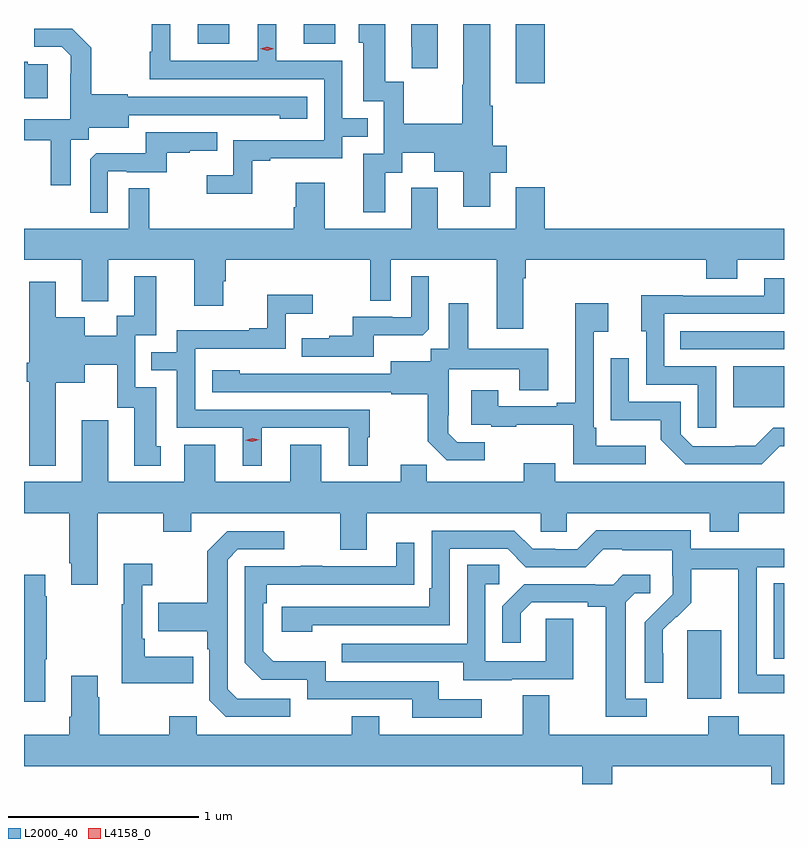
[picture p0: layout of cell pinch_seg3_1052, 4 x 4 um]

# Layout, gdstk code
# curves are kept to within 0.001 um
import gdstk
lib = gdstk.Library(unit=1e-6, precision=1e-09)
def R(c, l, rs):  # rectangles x0, y0, x1, y1
    for r in rs: c.add(gdstk.rectangle(r[:2], r[2:], *l))
def P(c, l, *ps):  # polygons
    for p in ps: c.add(gdstk.Polygon(p, *l))
L2000_40 = (2000, 40)
L4158_0 = (4158, 0)

pinch_seg3_1052 = lib.new_cell('pinch_seg3_1052')
R(pinch_seg3_1052, L2000_40, [(257.03,697.274,257.209,697.635), (257.483,697.486,257.538,697.883), (257.27,698.81,257.538,699.025), (256.993,699.114,257.538,699.21), (256.127,700.515,256.279,700.826), (254.453,700.722,254.617,700.826), (255.011,700.722,255.175,700.826)])
P(pinch_seg3_1052, L2000_40, [(254.739,700.107),(254.833,700.107),(254.833,700.119),(255.213,700.119),(255.213,700.233),(255.347,700.233),(255.347,700.329),(255.213,700.329),(255.213,700.632),(254.866,700.632),(254.866,700.826),(254.768,700.826),(254.768,700.632),(254.308,700.632),(254.308,700.826),(254.21,700.826),(254.21,700.68),(254.199,700.68),(254.199,700.536),(255.117,700.536),(255.117,700.215),(254.64,700.215),(254.64,700.03),(254.499,700.03),(254.499,699.932),(254.739,699.932)],
  [(255.439,700.042),(255.529,700.042),(255.529,700.148),(255.698,700.148),(255.698,700.049),(255.851,700.049),(255.851,699.864),(255.991,699.864),(255.991,700.042),(256.078,700.042),(256.078,700.184),(256.004,700.184),(256.004,700.396),(255.991,700.396),(255.991,700.826),(255.851,700.826),(255.851,700.505),(255.844,700.505),(255.844,700.3),(255.537,700.3),(255.537,700.523),(255.439,700.523),(255.439,700.826),(255.299,700.826),(255.299,700.728),(255.323,700.728),(255.323,700.419),(255.432,700.419),(255.432,700.143),(255.323,700.143),(255.323,699.834),(255.439,699.834)],
  [(255.715,700.826),(255.575,700.826),(255.575,700.705),(255.578,700.705),(255.578,700.593),(255.715,700.593)],
  [(253.783,700.216),(253.878,700.216),(253.878,700.28),(254.089,700.28),(254.089,700.347),(254.883,700.346),(254.883,700.328),(255.028,700.328),(255.028,700.443),(254.085,700.443),(254.085,700.456),(253.893,700.456),(253.893,700.701),(253.793,700.801),(253.593,700.801),(253.593,700.707),(253.737,700.707),(253.784,700.66),(253.784,700.565),(253.782,700.565),(253.782,700.324),(253.538,700.324),(253.538,700.214),(253.679,700.214),(253.679,699.978),(253.783,699.978)],
  [(253.663,700.614),(253.559,700.614),(253.559,700.627),(253.538,700.627),(253.538,700.434),(253.663,700.434)],
  [(253.98,700.05),(254.08,700.05),(254.08,700.047),(254.288,700.047),(254.288,700.149),(254.411,700.149),(254.411,700.16),(254.555,700.16),(254.555,700.257),(254.178,700.257),(254.178,700.145),(253.919,700.145),(253.887,700.113),(253.887,699.833),(253.98,699.833)],
  [(256.165,699.488),(256.178,699.488),(256.178,699.584),(257.129,699.584),(257.129,699.485),(257.293,699.485),(257.293,699.584),(257.538,699.584),(257.538,699.748),(256.279,699.748),(256.279,699.967),(256.127,699.967),(256.127,699.748),(255.715,699.748),(255.715,699.964),(255.575,699.964),(255.575,699.748),(255.121,699.748),(255.121,699.991),(254.969,699.991),(254.969,699.861),(254.957,699.861),(254.957,699.748),(254.197,699.748),(254.197,699.962),(254.088,699.962),(254.088,699.748),(253.538,699.748),(253.538,699.584),(253.841,699.584),(253.841,699.368),(253.981,699.368),(253.981,699.584),(254.435,699.584),(254.435,699.342),(254.587,699.342),(254.587,699.471),(254.6,699.471),(254.6,699.584),(255.36,699.584),(255.36,699.37),(255.468,699.37),(255.468,699.584),(256.025,699.584),(256.025,699.222),(256.165,699.222)],
  [(253.705,698.939),(253.858,698.939),(253.858,699.032),(254.028,699.032),(254.028,698.805),(254.117,698.805),(254.117,698.502),(254.257,698.502),(254.257,698.604),(254.233,698.604),(254.233,698.913),(254.124,698.913),(254.124,699.189),(254.233,699.189),(254.233,699.499),(254.117,699.499),(254.117,699.29),(254.027,699.29),(254.027,699.184),(253.858,699.184),(253.858,699.283),(253.705,699.283),(253.705,699.469),(253.565,699.469),(253.565,699.043),(253.553,699.043),(253.553,698.943),(253.565,698.943),(253.565,698.501),(253.705,698.501)],
  [(255.379,699.188),(255.637,699.188),(255.669,699.219),(255.669,699.499),(255.576,699.499),(255.576,699.282),(255.476,699.282),(255.476,699.285),(255.269,699.285),(255.269,699.184),(255.145,699.184),(255.145,699.172),(255.001,699.172),(255.001,699.075),(255.379,699.075)],
  [(257.181,699.024),(256.908,699.024),(256.908,699.3),(257.538,699.3),(257.538,699.487),(257.435,699.487),(257.435,699.396),(257.005,699.396),(257.005,699.398),(256.787,699.398),(256.787,699.21),(256.812,699.21),(256.812,698.928),(257.085,698.928),(257.085,698.7),(257.181,698.7)],
  [(254.788,698.7),(255.248,698.7),(255.248,698.501),(255.346,698.501),(255.346,698.652),(255.358,698.652),(255.358,698.796),(254.439,698.796),(254.439,699.117),(254.916,699.117),(254.916,699.302),(255.058,699.302),(255.058,699.401),(254.818,699.401),(254.818,699.226),(254.723,699.226),(254.723,699.213),(254.343,699.213),(254.343,699.099),(254.209,699.099),(254.209,699.003),(254.343,699.003),(254.343,698.7),(254.69,698.7),(254.69,698.501),(254.788,698.501)],
  [(255.964,698.625),(255.819,698.625),(255.772,698.672),(255.772,698.767),(255.774,698.767),(255.774,699.008),(256.145,699.008),(256.145,698.899),(256.297,698.899),(256.297,699.118),(255.877,699.118),(255.877,699.355),(255.773,699.355),(255.773,699.116),(255.678,699.116),(255.678,699.052),(255.467,699.052),(255.467,698.985),(254.673,698.986),(254.673,699.004),(254.529,699.004),(254.529,698.889),(255.471,698.889),(255.471,698.877),(255.663,698.877),(255.663,698.631),(255.763,698.531),(255.964,698.531)],
  [(256.81,698.605),(256.549,698.605),(256.549,698.701),(256.536,698.701),(256.536,699.206),(256.612,699.206),(256.612,699.355),(256.439,699.355),(256.439,698.833),(256.343,698.833),(256.343,698.814),(256.033,698.814),(256.033,698.899),(255.893,698.899),(255.893,698.718),(255.997,698.718),(255.997,698.706),(256.129,698.706),(256.129,698.717),(256.428,698.717),(256.428,698.508),(256.81,698.508)],
  [(257.516,698.603),(257.538,698.603),(257.538,698.7),(257.481,698.7),(257.387,698.606),(257.282,698.606),(257.282,698.604),(257.058,698.604),(256.995,698.667),(256.995,698.838),(256.722,698.838),(256.722,699.067),(256.626,699.067),(256.626,698.741),(256.888,698.741),(256.888,698.639),(257.018,698.508),(257.421,698.508)],
  [(256.169,698.515),(256.169,698.416),(255.659,698.416),(255.659,698.507),(255.521,698.507),(255.521,698.416),(255.103,698.416),(255.103,698.611),(254.939,698.611),(254.939,698.416),(254.545,698.416),(254.545,698.611),(254.381,698.611),(254.381,698.416),(253.981,698.416),(253.981,698.74),(253.841,698.74),(253.841,698.416),(253.538,698.416),(253.538,698.252),(253.775,698.252),(253.775,697.987),(253.787,697.987),(253.787,697.875),(253.927,697.875),(253.927,698.252),(254.272,698.252),(254.272,698.153),(254.419,698.153),(254.419,698.252),(255.203,698.252),(255.203,698.058),(255.343,698.058),(255.343,698.252),(256.257,698.252),(256.257,698.154),(256.395,698.154),(256.395,698.252),(257.147,698.252),(257.147,698.153),(257.3,698.153),(257.3,698.252),(257.538,698.252),(257.538,698.416),(256.333,698.416),(256.333,698.515)],
  [(257.538,697.401),(257.394,697.401),(257.394,697.968),(257.538,697.968),(257.538,698.064),(257.046,698.064),(257.046,698.161),(256.549,698.161),(256.449,698.061),(256.334,698.061),(256.334,698.064),(256.215,698.064),(256.119,698.16),(255.684,698.16),(255.684,697.855),(255.671,697.855),(255.671,697.758),(254.895,697.758),(254.895,697.628),(255.056,697.628),(255.056,697.662),(255.78,697.662),(255.78,698.064),(256.083,698.064),(256.179,697.968),(256.494,697.968),(256.587,698.061),(256.687,698.061),(256.687,698.057),(256.95,698.057),(256.95,697.923),(256.952,697.923),(256.952,697.826),(256.806,697.678),(256.806,697.36),(256.902,697.36),(256.901,697.637),(256.971,697.707),(256.974,697.704),(257.051,697.781),(257.051,697.956),(257.296,697.956),(257.296,697.732),(257.298,697.732),(257.298,697.303),(257.538,697.303)],
  [(254.938,697.275),(254.661,697.275),(254.61,697.326),(254.61,698.007),(254.664,698.061),(254.908,698.061),(254.908,698.157),(254.607,698.157),(254.502,698.051),(254.502,697.779),(254.245,697.779),(254.245,697.631),(254.502,697.631),(254.502,697.535),(254.514,697.535),(254.514,697.266),(254.601,697.179),(254.938,697.179)],
  [(255.946,697.272),(255.721,697.272),(255.721,697.368),(255.126,697.368),(255.126,697.471),(254.849,697.471),(254.796,697.524),(254.796,697.778),(254.816,697.778),(254.816,697.875),(255.593,697.876),(255.593,698.095),(255.497,698.095),(255.497,697.971),(255.107,697.971),(255.107,697.976),(254.995,697.976),(254.995,697.971),(254.7,697.971),(254.7,697.464),(254.79,697.374),(255.03,697.374),(255.03,697.272),(255.581,697.272),(255.581,697.176),(255.946,697.176)],
  [(254.429,697.495),(254.173,697.495),(254.173,697.591),(254.16,697.591),(254.16,697.871),(254.212,697.871),(254.212,697.984),(254.063,697.984),(254.063,697.771),(254.052,697.771),(254.052,697.355),(254.429,697.355)],
  [(256.105,697.377),(256.429,697.377),(256.429,697.697),(256.284,697.697),(256.284,697.473),(255.966,697.473),(255.966,697.878),(256.039,697.878),(256.039,697.979),(255.87,697.979),(255.87,697.563),(255.211,697.563),(255.211,697.467),(255.851,697.467),(255.851,697.373),(256.105,697.373)],
  [(256.816,697.275),(256.705,697.275),(256.705,697.783),(256.752,697.83),(256.834,697.83),(256.834,697.927),(256.69,697.927),(256.638,697.875),(256.544,697.875),(256.544,697.878),(256.172,697.878),(256.056,697.762),(256.056,697.569),(256.153,697.569),(256.153,697.725),(256.21,697.782),(256.505,697.782),(256.505,697.76),(256.601,697.76),(256.601,697.179),(256.816,697.179)],
  [(253.651,697.483),(253.659,697.483),(253.659,697.814),(253.651,697.814),(253.651,697.927),(253.538,697.927),(253.538,697.26),(253.651,697.26)],
  [(256.635,696.92),(257.471,696.92),(257.471,696.826),(257.538,696.826),(257.538,697.084),(257.3,697.084),(257.3,697.183),(257.14,697.183),(257.14,697.084),(256.303,697.084),(256.303,697.292),(256.163,697.292),(256.163,697.084),(255.409,697.084),(255.409,697.183),(255.262,697.183),(255.262,697.084),(254.448,697.084),(254.448,697.183),(254.302,697.183),(254.302,697.084),(253.935,697.084),(253.935,697.283),(253.927,697.283),(253.927,697.396),(253.787,697.396),(253.787,697.18),(253.775,697.18),(253.775,697.084),(253.538,697.084),(253.538,696.92),(256.475,696.92),(256.475,696.826),(256.635,696.826)])
P(pinch_seg3_1052, L4158_0, [(254.817,700.686),(254.781,700.696),(254.781,700.696),(254.781,700.696),(254.817,700.706),(254.853,700.696),(254.853,700.696),(254.853,700.696)],
  [(254.739,698.627),(254.703,698.636),(254.703,698.636),(254.703,698.636),(254.739,698.647),(254.775,698.639),(254.775,698.638),(254.775,698.638)])

lib.write_gds('pinch_seg3_1052.gds')
